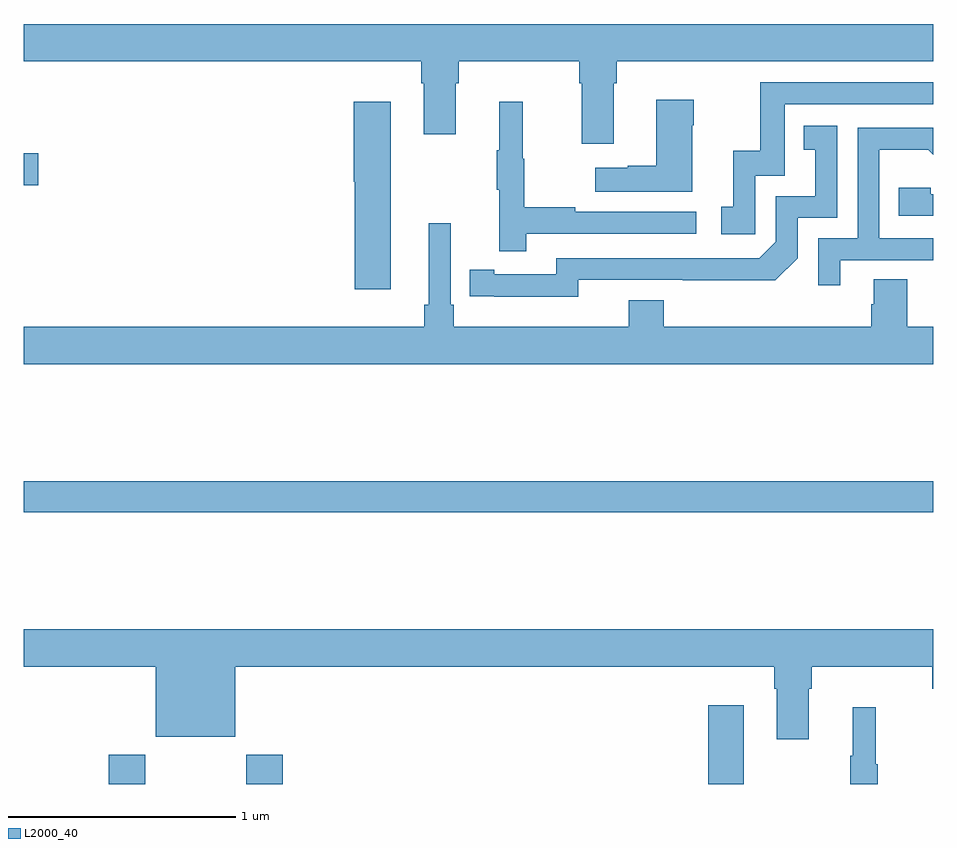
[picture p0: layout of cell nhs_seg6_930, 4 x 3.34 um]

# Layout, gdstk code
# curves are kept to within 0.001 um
import gdstk
lib = gdstk.Library(unit=1e-6, precision=1e-09)
def R(c, l, rs):  # rectangles x0, y0, x1, y1
    for r in rs: c.add(gdstk.rectangle(r[:2], r[2:], *l))
def P(c, l, *ps):  # polygons
    for p in ps: c.add(gdstk.Polygon(p, *l))
L2000_40 = (2000, 40)

nhs_seg6_930 = lib.new_cell('nhs_seg6_930')
R(nhs_seg6_930, L2000_40, [(169.373,933.5,169.533,933.628), (169.978,933.5,170.138,933.628), (172.01,933.5,172.168,933.847), (169,934.696,173,934.832), (169,936.134,169.063,936.276)])
P(nhs_seg6_930, L2000_40, [(171.595,936.584),(171.608,936.584),(171.608,936.68),(173,936.68),(173,936.844),(169,936.844),(169,936.68),(170.747,936.68),(170.747,936.584),(170.759,936.584),(170.759,936.36),(170.899,936.36),(170.899,936.584),(170.912,936.584),(170.912,936.68),(171.443,936.68),(171.443,936.584),(171.455,936.584),(171.455,936.318),(171.595,936.318)],
  [(172.218,936.177),(172.347,936.177),(172.347,936.492),(173,936.492),(173,936.588),(172.239,936.588),(172.239,936.286),(172.121,936.286),(172.121,936.039),(172.068,936.039),(172.068,935.919),(172.218,935.919)],
  [(171.94,936.398),(171.948,936.398),(171.948,936.511),(171.782,936.511),(171.782,936.221),(171.656,936.221),(171.656,936.211),(171.513,936.211),(171.513,936.107),(171.94,936.107)],
  [(171.209,935.922),(171.958,935.922),(171.958,936.018),(171.425,936.018),(171.425,936.038),(171.202,936.038),(171.202,936.252),(171.194,936.252),(171.194,936.502),(171.092,936.502),(171.092,936.289),(171.081,936.289),(171.081,936.115),(171.092,936.115),(171.092,935.844),(171.209,935.844)],
  [(170.614,936.502),(170.45,936.502),(170.45,936.15),(170.456,936.15),(170.456,935.676),(170.614,935.676)],
  [(171.438,935.718),(172.306,935.717),(172.404,935.814),(172.404,935.991),(172.578,935.991),(172.578,936.397),(172.432,936.397),(172.432,936.291),(172.481,936.291),(172.481,936.087),(172.308,936.087),(172.308,935.886),(172.236,935.814),(171.342,935.814),(171.342,935.742),(171.07,935.742),(171.07,935.762),(170.962,935.762),(170.962,935.646),(171.438,935.645)],
  [(172.591,935.805),(173,935.805),(173,935.901),(172.764,935.901),(172.764,936.29),(172.978,936.29),(173,936.268),(173,936.387),(172.668,936.387),(172.668,935.901),(172.494,935.901),(172.494,935.694),(172.591,935.694)],
  [(173,936.096),(172.989,936.096),(172.989,936.123),(172.849,936.123),(172.849,936),(173,936)],
  [(173,935.512),(172.887,935.512),(172.887,935.72),(172.739,935.72),(172.739,935.61),(172.727,935.61),(172.727,935.512),(171.815,935.512),(171.815,935.629),(171.662,935.629),(171.662,935.512),(170.891,935.512),(170.891,935.608),(170.877,935.608),(170.877,935.968),(170.78,935.968),(170.78,935.608),(170.761,935.608),(170.761,935.512),(169,935.512),(169,935.348),(173,935.348)],
  [(172.453,933.92),(172.466,933.92),(172.466,934.016),(172.997,934.016),(172.997,933.92),(173,933.92),(173,934.18),(169,934.18),(169,934.016),(169.58,934.016),(169.58,933.707),(169.93,933.707),(169.93,934.016),(172.301,934.016),(172.301,933.92),(172.313,933.92),(172.313,933.696),(172.453,933.696)],
  [(172.756,933.588),(172.748,933.588),(172.748,933.838),(172.646,933.838),(172.646,933.625),(172.635,933.625),(172.635,933.5),(172.756,933.5)])

lib.write_gds('nhs_seg6_930.gds')
